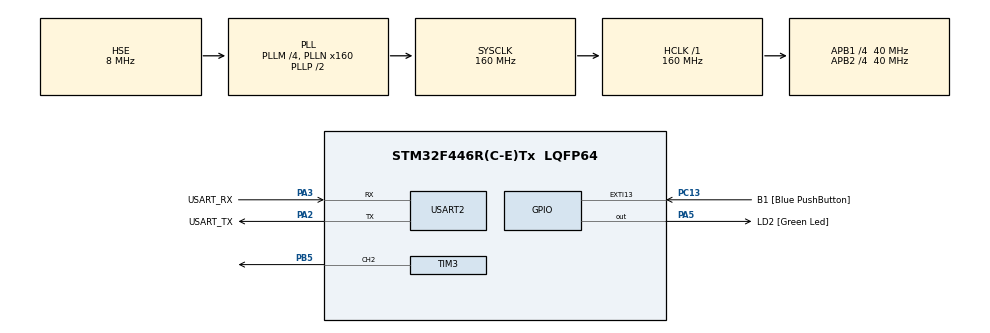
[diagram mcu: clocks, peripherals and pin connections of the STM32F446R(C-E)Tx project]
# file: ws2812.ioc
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Dma.Request0=TIM3_CH2
Dma.TIM3_CH2.0.Direction=DMA_MEMORY_TO_PERIPH
Dma.TIM3_CH2.0.FIFOMode=DMA_FIFOMODE_DISABLE
Dma.TIM3_CH2.0.Instance=DMA1_Stream5
Dma.TIM3_CH2.0.MemDataAlignment=DMA_MDATAALIGN_HALFWORD
Dma.TIM3_CH2.0.MemInc=DMA_MINC_ENABLE
Dma.TIM3_CH2.0.Mode=DMA_NORMAL
Dma.TIM3_CH2.0.PeriphDataAlignment=DMA_PDATAALIGN_HALFWORD
Dma.TIM3_CH2.0.PeriphInc=DMA_PINC_DISABLE
Dma.TIM3_CH2.0.Priority=DMA_PRIORITY_LOW
Mcu.Family=STM32F4
Mcu.Name=STM32F446R(C-E)Tx
Mcu.Package=LQFP64
NVIC.DMA1_Stream5_IRQn=true\:0\:0\:false\:false\:true\:false\:true\:true
NVIC.PriorityGroup=NVIC_PRIORITYGROUP_0
PA13.GPIO_Label=TMS
PA13.Mode=Serial_Wire
PA13.Signal=SYS_JTMS-SWDIO
PA14.GPIO_Label=TCK
PA14.Mode=Serial_Wire
PA14.Signal=SYS_JTCK-SWCLK
PA2.GPIO_Label=USART_TX
PA2.Mode=Asynchronous
PA2.Signal=USART2_TX
PA3.GPIO_Label=USART_RX
PA3.Mode=Asynchronous
PA3.Signal=USART2_RX
PA5.GPIO_Label=LD2 [Green Led]
PA5.Signal=GPIO_Output
PB5.Signal=S_TIM3_CH2
PC13.GPIO_Label=B1 [Blue PushButton]
PC13.GPIO_ModeDefaultEXTI=GPIO_MODE_IT_FALLING
PC13.Signal=GPXTI13
PC14-OSC32_IN.Mode=LSE-External-Oscillator
PC14-OSC32_IN.Signal=RCC_OSC32_IN
PC15-OSC32_OUT.Mode=LSE-External-Oscillator
PC15-OSC32_OUT.Signal=RCC_OSC32_OUT
PH0-OSC_IN.Mode=HSE-External-Oscillator
PH0-OSC_IN.Signal=RCC_OSC_IN
PH1-OSC_OUT.Mode=HSE-External-Oscillator
PH1-OSC_OUT.Signal=RCC_OSC_OUT
ProjectManager.HeapSize=0x200
ProjectManager.StackSize=0x400
ProjectManager.TargetToolchain=STM32CubeIDE
RCC.48MHZClocksFreq_Value=84000000
RCC.AHBFreq_Value=160000000
RCC.APB1CLKDivider=RCC_HCLK_DIV4
RCC.APB1Freq_Value=40000000
RCC.APB1TimFreq_Value=80000000
RCC.APB2CLKDivider=RCC_HCLK_DIV4
RCC.APB2Freq_Value=40000000
RCC.APB2TimFreq_Value=80000000
RCC.CortexFreq_Value=160000000
RCC.FLatency-AdvancedSettings=FLASH_LATENCY_5
RCC.HCLKFreq_Value=160000000
RCC.HSE_VALUE=8000000
RCC.HSI_VALUE=16000000
RCC.PLLM=4
RCC.PLLN=160
RCC.PLLSourceVirtual=RCC_PLLSOURCE_HSE
RCC.SYSCLKFreq_VALUE=160000000
RCC.SYSCLKSource=RCC_SYSCLKSOURCE_PLLCLK
RCC.USBFreq_Value=160000000
RCC.VCOOutputFreq_Value=320000000
SH.S_TIM3_CH2.0=TIM3_CH2,PWM Generation2 CH2
TIM3.Channel-PWM\ Generation2\ CH2=TIM_CHANNEL_2
TIM3.Period=100-1
USART2.VirtualMode=VM_ASYNC
VP_TIM3_VS_ClockSourceINT.Mode=Internal
board=NUCLEO-F446RE

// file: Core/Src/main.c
/* USER CODE BEGIN Header */
/**
  ******************************************************************************
  * @file           : main.c
  * @brief          : Main program body
  ******************************************************************************
  * @attention
  *
  * Copyright (c) 2024 STMicroelectronics.
  * All rights reserved.
  *
  * This software is licensed under terms that can be found in the LICENSE file
  * in the root directory of this software component.
  * If no LICENSE file comes with this software, it is provided AS-IS.
  *
  ******************************************************************************
  */
/* USER CODE END Header */
#include "main.h"

/* USER CODE BEGIN PD */
#define LED_COUNT 10
/* USER CODE END PD */

TIM_HandleTypeDef htim3;
DMA_HandleTypeDef hdma_tim3_ch2;

UART_HandleTypeDef huart2;

void SystemClock_Config(void);
static void MX_GPIO_Init(void);
static void MX_DMA_Init(void);
static void MX_USART2_UART_Init(void);
static void MX_TIM3_Init(void);

/* USER CODE BEGIN 0 */

uint16_t ledData[LED_COUNT][24];

void send(const uint8_t red[LED_COUNT], const uint8_t green[LED_COUNT], const uint8_t blue[LED_COUNT]) {
    for (int i = 0; i < LED_COUNT; i++) {
        for (int j = 0; j < 8; j++) {
            ledData[i][j] = (green[i] & (1 << (7 - j))) ? 66 : 33;
            ledData[i][j + 8] = (red[i] & (1 << (7 - j))) ? 66 : 33;
            ledData[i][j + 16] = (blue[i] & (1 << (7 - j))) ? 66 : 33;
        }
    }

    HAL_TIM_PWM_Start_DMA(&htim3, TIM_CHANNEL_2, (uint32_t *) ledData, LED_COUNT * 24);
}

void HAL_TIM_PWM_PulseFinishedCallback(TIM_HandleTypeDef *htim) {
    HAL_TIM_PWM_Stop_DMA(&htim3, TIM_CHANNEL_2);
}

/* USER CODE END 0 */

int main(void)
{

  /* MCU Configuration--------------------------------------------------------*/

  /* Reset of all peripherals, Initializes the Flash interface and the Systick. */
  HAL_Init();

  /* Configure the system clock */
  SystemClock_Config();

  /* Initialize all configured peripherals */
  MX_GPIO_Init();
  MX_DMA_Init();
  MX_USART2_UART_Init();
  MX_TIM3_Init();
  /* USER CODE BEGIN 2 */

    const uint8_t red[LED_COUNT] = {100,200,255, 0 ,0,0, 0, 0, 0, 255};
    const uint8_t green[LED_COUNT] = {0,0,0, 100,200,255, 0, 0, 0, 255};
    const uint8_t blue[LED_COUNT] = {0,0,0, 0, 0, 0, 100,200,255, 255};
    send(red, green, blue);
  /* USER CODE END 2 */

  /* Infinite loop */
  /* USER CODE BEGIN WHILE */
    while (1) {
        HAL_GPIO_TogglePin(LD2_GPIO_Port, LD2_Pin);

        HAL_Delay(500);
    /* USER CODE END WHILE */

    }
}

void SystemClock_Config(void)
{
  RCC_OscInitTypeDef RCC_OscInitStruct = {0};
  RCC_ClkInitTypeDef RCC_ClkInitStruct = {0};

  /** Configure the main internal regulator output voltage
  */
  __HAL_RCC_PWR_CLK_ENABLE();
  __HAL_PWR_VOLTAGESCALING_CONFIG(PWR_REGULATOR_VOLTAGE_SCALE1);

  /** Initializes the RCC Oscillators according to the specified parameters
  * in the RCC_OscInitTypeDef structure.
  */
  RCC_OscInitStruct.OscillatorType = RCC_OSCILLATORTYPE_HSE;
  RCC_OscInitStruct.HSEState = RCC_HSE_ON;
  RCC_OscInitStruct.PLL.PLLState = RCC_PLL_ON;
  RCC_OscInitStruct.PLL.PLLSource = RCC_PLLSOURCE_HSE;
  RCC_OscInitStruct.PLL.PLLM = 4;
  RCC_OscInitStruct.PLL.PLLN = 160;
  RCC_OscInitStruct.PLL.PLLP = RCC_PLLP_DIV2;
  RCC_OscInitStruct.PLL.PLLQ = 2;
  RCC_OscInitStruct.PLL.PLLR = 2;
  if (HAL_RCC_OscConfig(&RCC_OscInitStruct) != HAL_OK)
  {
    Error_Handler();
  }

  /** Initializes the CPU, AHB and APB buses clocks
  */
  RCC_ClkInitStruct.ClockType = RCC_CLOCKTYPE_HCLK|RCC_CLOCKTYPE_SYSCLK
                              |RCC_CLOCKTYPE_PCLK1|RCC_CLOCKTYPE_PCLK2;
  RCC_ClkInitStruct.SYSCLKSource = RCC_SYSCLKSOURCE_PLLCLK;
  RCC_ClkInitStruct.AHBCLKDivider = RCC_SYSCLK_DIV1;
  RCC_ClkInitStruct.APB1CLKDivider = RCC_HCLK_DIV4;
  RCC_ClkInitStruct.APB2CLKDivider = RCC_HCLK_DIV4;

  if (HAL_RCC_ClockConfig(&RCC_ClkInitStruct, FLASH_LATENCY_5) != HAL_OK)
  {
    Error_Handler();
  }
}

static void MX_TIM3_Init(void)
{

  TIM_ClockConfigTypeDef sClockSourceConfig = {0};
  TIM_MasterConfigTypeDef sMasterConfig = {0};
  TIM_OC_InitTypeDef sConfigOC = {0};

  htim3.Instance = TIM3;
  htim3.Init.Prescaler = 0;
  htim3.Init.CounterMode = TIM_COUNTERMODE_UP;
  htim3.Init.Period = 100-1;
  htim3.Init.ClockDivision = TIM_CLOCKDIVISION_DIV1;
  htim3.Init.AutoReloadPreload = TIM_AUTORELOAD_PRELOAD_DISABLE;
  if (HAL_TIM_Base_Init(&htim3) != HAL_OK)
  {
    Error_Handler();
  }
  sClockSourceConfig.ClockSource = TIM_CLOCKSOURCE_INTERNAL;
  if (HAL_TIM_ConfigClockSource(&htim3, &sClockSourceConfig) != HAL_OK)
  {
    Error_Handler();
  }
  if (HAL_TIM_PWM_Init(&htim3) != HAL_OK)
  {
    Error_Handler();
  }
  sMasterConfig.MasterOutputTrigger = TIM_TRGO_RESET;
  sMasterConfig.MasterSlaveMode = TIM_MASTERSLAVEMODE_DISABLE;
  if (HAL_TIMEx_MasterConfigSynchronization(&htim3, &sMasterConfig) != HAL_OK)
  {
    Error_Handler();
  }
  sConfigOC.OCMode = TIM_OCMODE_PWM1;
  sConfigOC.Pulse = 0;
  sConfigOC.OCPolarity = TIM_OCPOLARITY_HIGH;
  sConfigOC.OCFastMode = TIM_OCFAST_DISABLE;
  if (HAL_TIM_PWM_ConfigChannel(&htim3, &sConfigOC, TIM_CHANNEL_2) != HAL_OK)
  {
    Error_Handler();
  }
  HAL_TIM_MspPostInit(&htim3);

}

static void MX_USART2_UART_Init(void)
{

  huart2.Instance = USART2;
  huart2.Init.BaudRate = 115200;
  huart2.Init.WordLength = UART_WORDLENGTH_8B;
  huart2.Init.StopBits = UART_STOPBITS_1;
  huart2.Init.Parity = UART_PARITY_NONE;
  huart2.Init.Mode = UART_MODE_TX_RX;
  huart2.Init.HwFlowCtl = UART_HWCONTROL_NONE;
  huart2.Init.OverSampling = UART_OVERSAMPLING_16;
  if (HAL_UART_Init(&huart2) != HAL_OK)
  {
    Error_Handler();
  }

}

static void MX_DMA_Init(void)
{

  /* DMA controller clock enable */
  __HAL_RCC_DMA1_CLK_ENABLE();

  /* DMA interrupt init */
  /* DMA1_Stream5_IRQn interrupt configuration */
  HAL_NVIC_SetPriority(DMA1_Stream5_IRQn, 0, 0);
  HAL_NVIC_EnableIRQ(DMA1_Stream5_IRQn);

}

static void MX_GPIO_Init(void)
{
  GPIO_InitTypeDef GPIO_InitStruct = {0};

  /* GPIO Ports Clock Enable */
  __HAL_RCC_GPIOC_CLK_ENABLE();
  __HAL_RCC_GPIOH_CLK_ENABLE();
  __HAL_RCC_GPIOA_CLK_ENABLE();
  __HAL_RCC_GPIOB_CLK_ENABLE();

  /*Configure GPIO pin Output Level */
  HAL_GPIO_WritePin(LD2_GPIO_Port, LD2_Pin, GPIO_PIN_RESET);

  /*Configure GPIO pin : B1_Pin */
  GPIO_InitStruct.Pin = B1_Pin;
  GPIO_InitStruct.Mode = GPIO_MODE_IT_FALLING;
  GPIO_InitStruct.Pull = GPIO_NOPULL;
  HAL_GPIO_Init(B1_GPIO_Port, &GPIO_InitStruct);

  /*Configure GPIO pin : LD2_Pin */
  GPIO_InitStruct.Pin = LD2_Pin;
  GPIO_InitStruct.Mode = GPIO_MODE_OUTPUT_PP;
  GPIO_InitStruct.Pull = GPIO_NOPULL;
  GPIO_InitStruct.Speed = GPIO_SPEED_FREQ_LOW;
  HAL_GPIO_Init(LD2_GPIO_Port, &GPIO_InitStruct);

}

void Error_Handler(void)
{
    __disable_irq();
    while (1) {
    }
}
